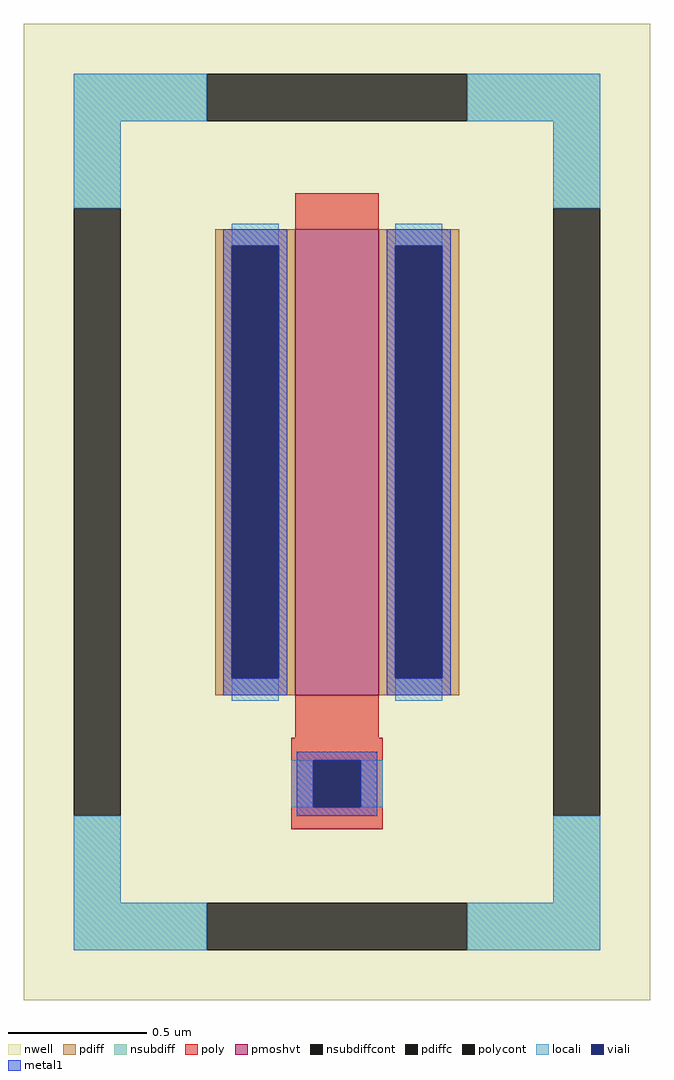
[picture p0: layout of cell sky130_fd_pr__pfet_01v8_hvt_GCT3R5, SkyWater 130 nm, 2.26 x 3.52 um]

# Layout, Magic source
magic
tech sky130A
magscale 1 2
<< nwell >>
rect -226 -352 226 352
<< pmoshvt >>
rect -30 -132 30 204
<< pdiff >>
rect -88 192 -30 204
rect -88 -120 -76 192
rect -42 -120 -30 192
rect -88 -132 -30 -120
rect 30 192 88 204
rect 30 -120 42 192
rect 76 -120 88 192
rect 30 -132 88 -120
<< pdiffc >>
rect -76 -120 -42 192
rect 42 -120 76 192
<< nsubdiff >>
rect -190 282 -94 316
rect 94 282 190 316
rect -190 219 -156 282
rect 156 219 190 282
rect -190 -282 -156 -219
rect 156 -282 190 -219
rect -190 -316 -94 -282
rect 94 -316 190 -282
<< nsubdiffcont >>
rect -94 282 94 316
rect -190 -219 -156 219
rect 156 -219 190 219
rect -94 -316 94 -282
<< poly >>
rect -30 204 30 230
rect -30 -163 30 -132
rect -33 -179 33 -163
rect -33 -213 -17 -179
rect 17 -213 33 -179
rect -33 -229 33 -213
<< polycont >>
rect -17 -213 17 -179
<< locali >>
rect -190 282 -94 316
rect 94 282 190 316
rect -190 219 -156 282
rect 156 219 190 282
rect -76 192 -42 208
rect -76 -136 -42 -120
rect 42 192 76 208
rect 42 -136 76 -120
rect -33 -213 -17 -179
rect 17 -213 33 -179
rect -190 -282 -156 -219
rect 156 -282 190 -219
rect -190 -316 -94 -282
rect 94 -316 190 -282
<< viali >>
rect -76 -120 -42 192
rect 42 -120 76 192
rect -17 -213 17 -179
<< metal1 >>
rect -82 192 -36 204
rect -82 -120 -76 192
rect -42 -120 -36 192
rect -82 -132 -36 -120
rect 36 192 82 204
rect 36 -120 42 192
rect 76 -120 82 192
rect 36 -132 82 -120
rect -29 -179 29 -173
rect -29 -213 -17 -179
rect 17 -213 29 -179
rect -29 -219 29 -213
<< properties >>
string FIXED_BBOX -173 -299 173 299
string gencell sky130_fd_pr__pfet_01v8_hvt
string library sky130
string parameters w 1.68 l 0.3 m 1 nf 1 diffcov 100 polycov 100 guard 1 glc 1 grc 1 gtc 1 gbc 1 tbcov 100 rlcov 100 topc 0 botc 1 poverlap 0 doverlap 1 lmin 0.15 wmin 0.42 compatible {sky130_fd_pr__pfet_01v8  sky130_fd_pr__pfet_01v8_lvt sky130_fd_pr__pfet_01v8_hvt  sky130_fd_pr__pfet_g5v0d10v5} full_metal 1 viasrc 100 viadrn 100 viagate 100 viagb 0 viagr 0 viagl 0 viagt 0
<< end >>
